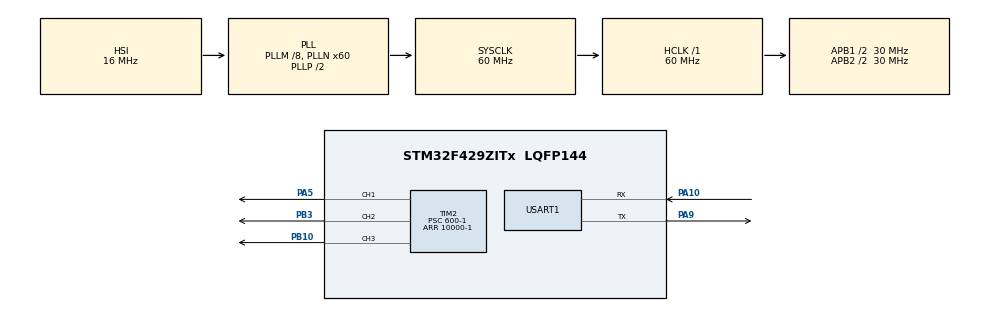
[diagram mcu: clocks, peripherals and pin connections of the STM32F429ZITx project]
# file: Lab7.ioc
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Mcu.Family=STM32F4
Mcu.Name=STM32F429ZITx
Mcu.Package=LQFP144
NVIC.PriorityGroup=NVIC_PRIORITYGROUP_4
NVIC.TIM2_IRQn=true\:1\:0\:true\:false\:true\:true\:true
PA10.Mode=Asynchronous
PA10.Signal=USART1_RX
PA5.Signal=S_TIM2_CH1_ETR
PA9.Mode=Asynchronous
PA9.Signal=USART1_TX
PB10.Signal=S_TIM2_CH3
PB3.GPIO_Speed=GPIO_SPEED_FREQ_VERY_HIGH
PB3.Signal=S_TIM2_CH2
ProjectManager.HeapSize=0x200
ProjectManager.StackSize=0x400
ProjectManager.TargetToolchain=STM32CubeIDE
RCC.48MHZClocksFreq_Value=40000000
RCC.AHBFreq_Value=60000000
RCC.APB1CLKDivider=RCC_HCLK_DIV2
RCC.APB1Freq_Value=30000000
RCC.APB1TimFreq_Value=60000000
RCC.APB2CLKDivider=RCC_HCLK_DIV2
RCC.APB2Freq_Value=30000000
RCC.APB2TimFreq_Value=60000000
RCC.CortexFreq_Value=60000000
RCC.HCLKFreq_Value=60000000
RCC.HSE_VALUE=8000000
RCC.HSI_VALUE=16000000
RCC.LSE_VALUE=32768
RCC.PLLM=8
RCC.PLLN=60
RCC.PLLQ=3
RCC.PLLSAIN=50
RCC.SYSCLKFreq_VALUE=60000000
RCC.SYSCLKSource=RCC_SYSCLKSOURCE_PLLCLK
RCC.VCOOutputFreq_Value=120000000
SH.S_TIM2_CH1_ETR.0=TIM2_CH1,PWM Generation1 CH1
SH.S_TIM2_CH2.0=TIM2_CH2,PWM Generation2 CH2
SH.S_TIM2_CH3.0=TIM2_CH3,PWM Generation3 CH3
TIM2.Channel-PWM\ Generation1\ CH1=TIM_CHANNEL_1
TIM2.Channel-PWM\ Generation2\ CH2=TIM_CHANNEL_2
TIM2.Channel-PWM\ Generation3\ CH3=TIM_CHANNEL_3
TIM2.Period=10000-1
TIM2.Prescaler=600-1
TIM2.Pulse-PWM\ Generation2\ CH2=0
TIM2.Pulse-PWM\ Generation3\ CH3=0
USART1.VirtualMode=VM_ASYNC
VP_TIM2_VS_ClockSourceINT.Mode=Internal
board=STM32F429I-DISC1

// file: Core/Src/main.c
/* USER CODE BEGIN Header */
/**
  ******************************************************************************
  * @file           : main.c
  * @brief          : Main program body
  ******************************************************************************
  * @attention
  *
  * <h2><center>&copy; Copyright (c) 2021 STMicroelectronics.
  * All rights reserved.</center></h2>
  *
  * This software component is licensed by ST under Ultimate Liberty license
  * SLA0044, the "License"; You may not use this file except in compliance with
  * the License. You may obtain a copy of the License at:
  *                             www.st.com/SLA0044
  *
  ******************************************************************************
  */
/* USER CODE END Header */
#include "main.h"

TIM_HandleTypeDef htim2;

UART_HandleTypeDef huart1;

/* USER CODE BEGIN PV */
uint8_t pwm;
uint8_t pwmr;
uint8_t pwmg;
uint8_t pwmb;
uint8_t PWM[3] = {0 , 0, 0};
/* USER CODE END PV */

void SystemClock_Config(void);
static void MX_GPIO_Init(void);
static void MX_TIM2_Init(void);
static void MX_USART1_UART_Init(void);

int main(void)
{

  /* MCU Configuration--------------------------------------------------------*/

  /* Reset of all peripherals, Initializes the Flash interface and the Systick. */
  HAL_Init();

  /* Configure the system clock */
  SystemClock_Config();

  /* Initialize all configured peripherals */
  MX_GPIO_Init();
  MX_TIM2_Init();
  MX_USART1_UART_Init();
  /* USER CODE BEGIN 2 */
//  float dutyCycle = 2.0;
//  HAL_TIM_PWM_Start(&htim2, TIM_CHANNEL_2);
//  htim2.Instance -> CCR2 = (10000-1) * dutyCycle;
  /* USER CODE END 2 */

  /* Infinite loop */
  while (1)
  {

    /* USER CODE BEGIN 3 */
	  //1 & 2
	  //pwm = (GPIOB->IDR & GPIO_PIN_3) >>3;

	  // 3
	  uint8_t buff[2];
	  	  if (HAL_UART_Receive(&huart1, buff, 1, 1000)!= HAL_TIMEOUT) {
	  		  HAL_UART_Transmit(&huart1, (uint8_t*)buff,1,100);
	  		  switch(buff[0]) {
	  			  case 'r': {
	  				PWM[0]++;
	  				if (PWM[0] == 6) PWM[0] = 0;
	  				HAL_TIM_PWM_Stop(&htim2, TIM_CHANNEL_3);
	  				htim2.Instance -> CCR3 = (10000-1) * PWM[0] * 0.2;
	  				HAL_TIM_PWM_Start(&htim2, TIM_CHANNEL_3);
	  			  }
	  			  break;
	  			  case 'g': {
	  				PWM[1]++;
	  				if (PWM[1] == 6) PWM[1] = 0;
	  				HAL_TIM_PWM_Stop(&htim2, TIM_CHANNEL_2);
	  				htim2.Instance -> CCR2 = (10000-1) * PWM[1] * 0.2;
	  				HAL_TIM_PWM_Start(&htim2, TIM_CHANNEL_2);
	  			  }
	  			  break;
	  			  case 'b': {
	  				PWM[2]++;
	  				if (PWM[2] == 6) PWM[2] = 0;
	  				HAL_TIM_PWM_Stop(&htim2, TIM_CHANNEL_1);
	  				htim2.Instance -> CCR1 = (10000-1) * PWM[2] * 0.2;
	  				HAL_TIM_PWM_Start(&htim2, TIM_CHANNEL_1);
	  			  }
	  			  break;
	  		  }
	  		  HAL_Delay(1);
	  }
	  	  while(__HAL_UART_GET_FLAG(&huart1,UART_FLAG_RXNE)==RESET){
	  	pwmr = (GPIOB->IDR & GPIO_PIN_10) >>10;
	  	pwmg = ((GPIOB->IDR & GPIO_PIN_3) >>3)+1;
	  	pwmb = ((GPIOA->IDR & GPIO_PIN_5) >>5)+2;
	  	  }
  }
  /* USER CODE END 3 */
}

void SystemClock_Config(void)
{
  RCC_OscInitTypeDef RCC_OscInitStruct = {0};
  RCC_ClkInitTypeDef RCC_ClkInitStruct = {0};

  /** Configure the main internal regulator output voltage
  */
  __HAL_RCC_PWR_CLK_ENABLE();
  __HAL_PWR_VOLTAGESCALING_CONFIG(PWR_REGULATOR_VOLTAGE_SCALE3);
  /** Initializes the RCC Oscillators according to the specified parameters
  * in the RCC_OscInitTypeDef structure.
  */
  RCC_OscInitStruct.OscillatorType = RCC_OSCILLATORTYPE_HSI;
  RCC_OscInitStruct.HSIState = RCC_HSI_ON;
  RCC_OscInitStruct.HSICalibrationValue = RCC_HSICALIBRATION_DEFAULT;
  RCC_OscInitStruct.PLL.PLLState = RCC_PLL_ON;
  RCC_OscInitStruct.PLL.PLLSource = RCC_PLLSOURCE_HSI;
  RCC_OscInitStruct.PLL.PLLM = 8;
  RCC_OscInitStruct.PLL.PLLN = 60;
  RCC_OscInitStruct.PLL.PLLP = RCC_PLLP_DIV2;
  RCC_OscInitStruct.PLL.PLLQ = 3;
  if (HAL_RCC_OscConfig(&RCC_OscInitStruct) != HAL_OK)
  {
    Error_Handler();
  }
  /** Initializes the CPU, AHB and APB buses clocks
  */
  RCC_ClkInitStruct.ClockType = RCC_CLOCKTYPE_HCLK|RCC_CLOCKTYPE_SYSCLK
                              |RCC_CLOCKTYPE_PCLK1|RCC_CLOCKTYPE_PCLK2;
  RCC_ClkInitStruct.SYSCLKSource = RCC_SYSCLKSOURCE_PLLCLK;
  RCC_ClkInitStruct.AHBCLKDivider = RCC_SYSCLK_DIV1;
  RCC_ClkInitStruct.APB1CLKDivider = RCC_HCLK_DIV2;
  RCC_ClkInitStruct.APB2CLKDivider = RCC_HCLK_DIV2;

  if (HAL_RCC_ClockConfig(&RCC_ClkInitStruct, FLASH_LATENCY_1) != HAL_OK)
  {
    Error_Handler();
  }
}

static void MX_TIM2_Init(void)
{

  TIM_ClockConfigTypeDef sClockSourceConfig = {0};
  TIM_MasterConfigTypeDef sMasterConfig = {0};
  TIM_OC_InitTypeDef sConfigOC = {0};

  htim2.Instance = TIM2;
  htim2.Init.Prescaler = 600-1;
  htim2.Init.CounterMode = TIM_COUNTERMODE_UP;
  htim2.Init.Period = 10000-1;
  htim2.Init.ClockDivision = TIM_CLOCKDIVISION_DIV1;
  htim2.Init.AutoReloadPreload = TIM_AUTORELOAD_PRELOAD_DISABLE;
  if (HAL_TIM_Base_Init(&htim2) != HAL_OK)
  {
    Error_Handler();
  }
  sClockSourceConfig.ClockSource = TIM_CLOCKSOURCE_INTERNAL;
  if (HAL_TIM_ConfigClockSource(&htim2, &sClockSourceConfig) != HAL_OK)
  {
    Error_Handler();
  }
  if (HAL_TIM_PWM_Init(&htim2) != HAL_OK)
  {
    Error_Handler();
  }
  sMasterConfig.MasterOutputTrigger = TIM_TRGO_RESET;
  sMasterConfig.MasterSlaveMode = TIM_MASTERSLAVEMODE_DISABLE;
  if (HAL_TIMEx_MasterConfigSynchronization(&htim2, &sMasterConfig) != HAL_OK)
  {
    Error_Handler();
  }
  sConfigOC.OCMode = TIM_OCMODE_PWM1;
  sConfigOC.Pulse = 0;
  sConfigOC.OCPolarity = TIM_OCPOLARITY_HIGH;
  sConfigOC.OCFastMode = TIM_OCFAST_DISABLE;
  if (HAL_TIM_PWM_ConfigChannel(&htim2, &sConfigOC, TIM_CHANNEL_1) != HAL_OK)
  {
    Error_Handler();
  }
  if (HAL_TIM_PWM_ConfigChannel(&htim2, &sConfigOC, TIM_CHANNEL_2) != HAL_OK)
  {
    Error_Handler();
  }
  if (HAL_TIM_PWM_ConfigChannel(&htim2, &sConfigOC, TIM_CHANNEL_3) != HAL_OK)
  {
    Error_Handler();
  }
  HAL_TIM_MspPostInit(&htim2);

}

static void MX_USART1_UART_Init(void)
{

  huart1.Instance = USART1;
  huart1.Init.BaudRate = 115200;
  huart1.Init.WordLength = UART_WORDLENGTH_8B;
  huart1.Init.StopBits = UART_STOPBITS_1;
  huart1.Init.Parity = UART_PARITY_NONE;
  huart1.Init.Mode = UART_MODE_TX_RX;
  huart1.Init.HwFlowCtl = UART_HWCONTROL_NONE;
  huart1.Init.OverSampling = UART_OVERSAMPLING_16;
  if (HAL_UART_Init(&huart1) != HAL_OK)
  {
    Error_Handler();
  }

}

static void MX_GPIO_Init(void)
{

  /* GPIO Ports Clock Enable */
  __HAL_RCC_GPIOA_CLK_ENABLE();
  __HAL_RCC_GPIOB_CLK_ENABLE();

}

void Error_Handler(void)
{
  __disable_irq();
  while (1)
  {
  }
}

/************************ (C) COPYRIGHT STMicroelectronics *****END OF FILE****/
